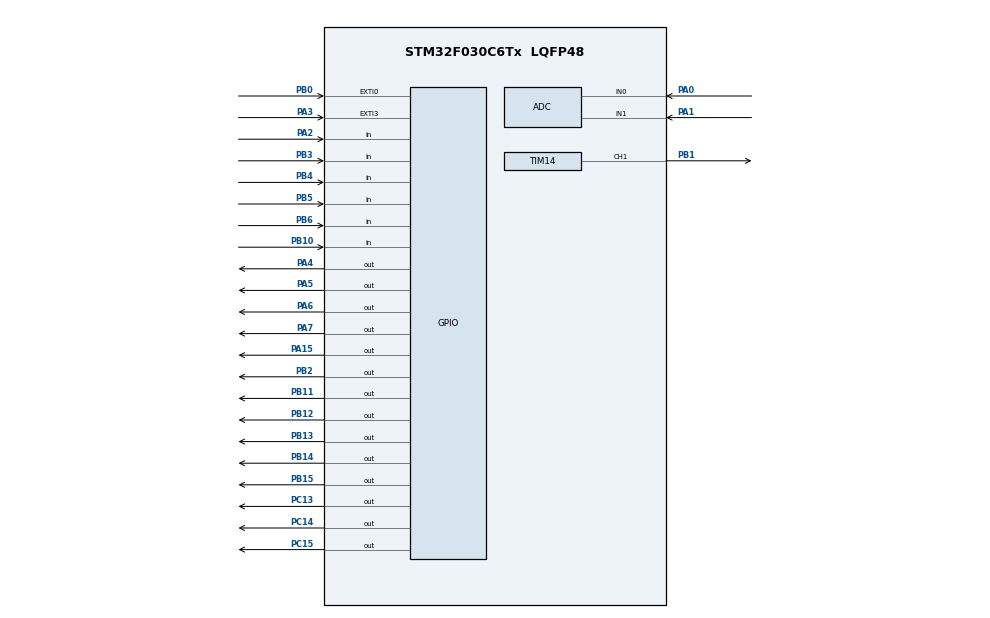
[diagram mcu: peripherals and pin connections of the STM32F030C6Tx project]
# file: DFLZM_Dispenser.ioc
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ADC.ContinuousConvMode=DISABLE
ADC.DMAContinuousRequests=DISABLE
ADC.DiscontinuousConvMode=ENABLE
ADC.ScanConvMode=ADC_SCAN_DIRECTION_FORWARD
Mcu.Family=STM32F0
Mcu.Name=STM32F030C6Tx
Mcu.Package=LQFP48
NVIC.EXTI0_1_IRQn=true\:0\:0\:false\:false\:true\:true\:true\:true
NVIC.EXTI2_3_IRQn=true\:0\:0\:false\:false\:true\:true\:true\:true
NVIC.TIM16_IRQn=true\:0\:0\:false\:false\:true\:true\:true\:true
NVIC.TIM17_IRQn=true\:0\:0\:false\:false\:true\:true\:true\:true
NVIC.TIM1_BRK_UP_TRG_COM_IRQn=true\:3\:0\:false\:false\:true\:false\:true\:true
NVIC.TimeBase=TIM1_BRK_UP_TRG_COM_IRQn
NVIC.TimeBaseIP=TIM1
PA0.Mode=IN0
PA0.Signal=ADC_IN0
PA1.Mode=IN1
PA1.Signal=ADC_IN1
PA13.Mode=Serial_Wire
PA13.Signal=SYS_SWDIO
PA14.Mode=Serial_Wire
PA14.Signal=SYS_SWCLK
PA15.Signal=GPIO_Output
PA2.GPIO_PuPd=GPIO_PULLDOWN
PA2.Signal=GPIO_Input
PA3.GPIO_PuPd=GPIO_PULLDOWN
PA3.Signal=GPXTI3
PA4.Signal=GPIO_Output
PA5.Signal=GPIO_Output
PA6.Signal=GPIO_Output
PA7.Signal=GPIO_Output
PB0.GPIO_ModeDefaultEXTI=GPIO_MODE_IT_RISING
PB0.Signal=GPXTI0
PB1.Signal=S_TIM14_CH1
PB10.GPIO_PuPd=GPIO_PULLUP
PB10.Signal=GPIO_Input
PB11.Signal=GPIO_Output
PB12.Signal=GPIO_Output
PB13.Signal=GPIO_Output
PB14.Signal=GPIO_Output
PB15.Signal=GPIO_Output
PB2.Signal=GPIO_Output
PB3.GPIO_PuPd=GPIO_PULLUP
PB3.Signal=GPIO_Input
PB4.GPIO_PuPd=GPIO_PULLUP
PB4.Signal=GPIO_Input
PB5.GPIO_PuPd=GPIO_PULLUP
PB5.Signal=GPIO_Input
PB6.GPIO_PuPd=GPIO_PULLUP
PB6.Signal=GPIO_Input
PC13.Signal=GPIO_Output
PC14-OSC32_IN.Signal=GPIO_Output
PC15-OSC32_OUT.Signal=GPIO_Output
ProjectManager.HeapSize=0x200
ProjectManager.StackSize=0x400
ProjectManager.TargetToolchain=MDK-ARM V5.27
SH.S_TIM14_CH1.0=TIM14_CH1,PWM Generation1 CH1
TIM14.AutoReloadPreload=TIM_AUTORELOAD_PRELOAD_ENABLE
TIM14.Channel=TIM_CHANNEL_1
TIM14.OCMode_PWM=TIM_OCMODE_PWM1
TIM14.OCPolarity_1=TIM_OCPOLARITY_LOW
TIM14.Period=100-1
TIM14.Prescaler=8-1
TIM16.AutoReloadPreload=TIM_AUTORELOAD_PRELOAD_ENABLE
TIM16.Period=1000
TIM16.Prescaler=7
TIM17.AutoReloadPreload=TIM_AUTORELOAD_PRELOAD_ENABLE
TIM17.Period=1016
TIM17.Prescaler=7
VP_SYS_VS_tim1.Mode=TIM1
VP_TIM14_VS_ClockSourceINT.Mode=Enable_Timer
VP_TIM16_VS_ClockSourceINT.Mode=Enable_Timer
VP_TIM17_VS_ClockSourceINT.Mode=Enable_Timer
board=custom

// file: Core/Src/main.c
/* USER CODE BEGIN Header */
/**
  ******************************************************************************
  * @file           : main.c
  * @brief          : Main program body
  ******************************************************************************
  * @attention
  *
  * Copyright (c) 2025 STMicroelectronics.
  * All rights reserved.
  *
  * This software is licensed under terms that can be found in the LICENSE file
  * in the root directory of this software component.
  * If no LICENSE file comes with this software, it is provided AS-IS.
  *
  ******************************************************************************
  */

//
//                 STM32F030C6T6  SOP48(C)
//                 ----------------
//  TEMP_1_AD--------|(PA0)    (PB0)|-----------PASSZERO
//  TEMP_2_AD--------|(PA1)    (PB1)|-----------PUMP
//  Micro_SW---------|(PA2)    (PB2)|-----------LED1
//  FLX_DETECT-------|(PA3)    (PB3)|-----------DISINFECT_KEY
//  HEATER-----------|(PA4)    (PB4)|-----------PREHEAT_KEY
//  TEMP_CHG_LED-----|(PA5)    (PB5)|-----------WATEROUT_KEY
//  Dr1--------------|(PA6)    (PB6)|-----------TEMP_CHG_KEY
//  Dr2--------------|(PA7)    (PB7)|-----------
//  -----------------|(PA8)    (PB8)|-----------
//  -----------------|(PA9)    (PB9)|------------
// 	-----------------|(PA10)   (PB10)|------------LOCK_KEY
//  -----------------|(PA11)   (PB11)|------------TW_Valve
//  -----------------|(PA12)   (PB12)|------------Dr3
//  -----------------|(PA13)   (PB13)|------------Dr4
//  -----------------|(PA14)   (PB14)|------------Dr5
//  BUZZER-----------|(PA15)   (PB15)|------------LOCK_LED
//  DISINFECT_LED------|(PC13)
//  PREHEAT_LED--------|(PC14)
//  WATEROUT_LED-------|(PC15)

///**************define output ports*********/
//#define LOCK_LED       GPIOB,GPIO_PIN_15
//#define TEMP_CHG_LED   GPIOA,GPIO_PIN_5
//#define WATEROUT_LED   GPIOC,GPIO_PIN_15
//#define PREHEAT_LED    GPIOC,GPIO_PIN_14
//#define DISINFECT_LED  GPIOC,GPIO_PIN_13

//#define LOCK_KEY       GPIOB,GPIO_PIN_10
//#define TEMP_CHG_KEY   GPIOB,GPIO_PIN_6
//#define WATEROUT_KEY   GPIOB,GPIO_PIN_5
//#define PREHEAT_KEY    GPIOB,GPIO_PIN_4
//#define DISINFECT_KEY  GPIOB,GPIO_PIN_3

//#define PUMP           GPIOB,GPIO_PIN_1
//#define BUZZER         GPIOA,GPIO_PIN_15
//#define HEATER         GPIOA,GPIO_PIN_4
//#define Micro_SW			 GPIOA,GPIO_PIN_2
//#define TW_Valve			 GPIOB,GPIO_PIN_11

//#define Dr1         	 GPIOA,GPIO_PIN_6
//#define Dr2         	 GPIOA,GPIO_PIN_7
//#define Dr3        		 GPIOB,GPIO_PIN_12
//#define Dr4       	   GPIOB,GPIO_PIN_13
//#define Dr5      		   GPIOB,GPIO_PIN_14
//#define LED1					 GPIOB,GPIO_PIN_2
/* USER CODE END Header */
#include "main.h"
#include "adc.h"
#include "tim.h"
#include "gpio.h"

/* USER CODE BEGIN Includes */
#include "sm.h"
#include "app.h"

/* USER CODE END Includes */

/* USER CODE BEGIN PV */
uint16_t	pid_timer_flag = FALSE;
/* USER CODE END PV */

void SystemClock_Config(void);

int main(void)
{

  /* MCU Configuration--------------------------------------------------------*/

  /* Reset of all peripherals, Initializes the Flash interface and the Systick. */
  HAL_Init();

  /* Configure the system clock */
  SystemClock_Config();

  /* Initialize all configured peripherals */
  MX_GPIO_Init();
  MX_ADC_Init();
  MX_TIM16_Init();
  MX_TIM17_Init();
  MX_TIM14_Init();
  /* USER CODE BEGIN 2 */
	HAL_TIM_Base_Start(&htim14); // 启动定时器
	HAL_TIM_PWM_Start(&htim14, TIM_CHANNEL_1); // 启动PWM输出
	HAL_TIM_Base_Start_IT(&htim16);
//	HAL_TIM_Base_Start_IT(&htim17);
	HAL_ADCEx_Calibration_Start(&hadc);
	System_Init();

//	save_flash_data();
//	read_flash_data();
  /* USER CODE END 2 */

  /* Infinite loop */
  while (1)
  {

    /* USER CODE BEGIN 3 */
		display();
//		loop_fun();
		Keys_handler();
		led_blink();
		Alarm_Process();
		ADC_Get_Value();
		safety_check();
		Adjust_PWM_DutyCycle(&htim14, TIM_CHANNEL_1,mDispenser.pump_speed);
		if(pid_timer_flag == TURE){	//500ms PID计算水泵和加热管功率
			pid_timer_flag = FALSE;
			calculate_pid();
		}
  }
  /* USER CODE END 3 */
}

void SystemClock_Config(void)
{
  RCC_OscInitTypeDef RCC_OscInitStruct = {0};
  RCC_ClkInitTypeDef RCC_ClkInitStruct = {0};

  /** Initializes the RCC Oscillators according to the specified parameters
  * in the RCC_OscInitTypeDef structure.
  */
  RCC_OscInitStruct.OscillatorType = RCC_OSCILLATORTYPE_HSI|RCC_OSCILLATORTYPE_HSI14;
  RCC_OscInitStruct.HSIState = RCC_HSI_ON;
  RCC_OscInitStruct.HSI14State = RCC_HSI14_ON;
  RCC_OscInitStruct.HSICalibrationValue = RCC_HSICALIBRATION_DEFAULT;
  RCC_OscInitStruct.HSI14CalibrationValue = 16;
  RCC_OscInitStruct.PLL.PLLState = RCC_PLL_NONE;
  if (HAL_RCC_OscConfig(&RCC_OscInitStruct) != HAL_OK)
  {
    Error_Handler();
  }

  /** Initializes the CPU, AHB and APB buses clocks
  */
  RCC_ClkInitStruct.ClockType = RCC_CLOCKTYPE_HCLK|RCC_CLOCKTYPE_SYSCLK
                              |RCC_CLOCKTYPE_PCLK1;
  RCC_ClkInitStruct.SYSCLKSource = RCC_SYSCLKSOURCE_HSI;
  RCC_ClkInitStruct.AHBCLKDivider = RCC_SYSCLK_DIV1;
  RCC_ClkInitStruct.APB1CLKDivider = RCC_HCLK_DIV1;

  if (HAL_RCC_ClockConfig(&RCC_ClkInitStruct, FLASH_LATENCY_0) != HAL_OK)
  {
    Error_Handler();
  }
}

/* USER CODE BEGIN 4 */
void HAL_GPIO_EXTI_Callback(uint16_t GPIO_Pin)
{
  /* Prevent unused argument(s) compilation warning */
  UNUSED(GPIO_Pin);
	if(GPIO_Pin == GPIO_PIN_0)		//Zero_detect_pin
	{
//		mDispenser.heating_enabled = FALSE;
		if(mDispenser.heating_enabled == TURE){
			++PassZero_Detect.pulse_cnt;
			heating_cnt = (heating_cnt + 1) % 10;		//pump power control pwm frequence 1000/5 HZ

			if(heating_cnt < (mDispenser.heating_pwr/10)){
				HEATER_ON;
				IntZero_timer_ms.start_flag = TIMERSTART ;	//	start conduction angle timer
			}
		}

	}

	if(GPIO_Pin == GPIO_PIN_3)		//flow_detect_pin count pulse
	{
		++iFlow.pulse_cnt;
	}
  /* NOTE: This function should not be modified, when the callback is needed,
            the HAL_GPIO_EXTI_Callback could be implemented in the user file
   */
}
/* USER CODE END 4 */

void HAL_TIM_PeriodElapsedCallback(TIM_HandleTypeDef *htim)
{
  if (htim->Instance == TIM1) {
    HAL_IncTick();
  }
  /* USER CODE BEGIN Callback 1 */
	  if (htim->Instance == TIM16) {
				if(time_cnt_1s < 1000)  //1s timer for alarm
        {
					time_cnt_1s++;
				}else{
					AlarmTimeBase_1s = 1;
					time_cnt_1s = 0;
					if(DryBurn_Timer_s.start_flag == TIMERSTART){
						if(DryBurn_Timer_s.cnt < DryBurn_Timer_s.time_setting){
							DryBurn_Timer_s.cnt++;
						}else{
								DryBurn_Timer_s.timersup = TURE;
								DryBurn_Timer_s.cnt =0;
								DryBurn_Timer_s.start_flag = TIMERSTOP;
						}
					}
				}

        if(time_cnt_10ms < 10) //scan key state in every 10ms
        {
          time_cnt_10ms++;
        }else
				{
					time_cnt_10ms = 0;
					Keys_Scan();
//					HAL_GPIO_TogglePin(TW_Valve);
        }

        if(time_cnt_500ms < LED_BLINK_FREQ_MS){  //500ms for led blink
            time_cnt_500ms++;
        }else{
            LedTimeBase_500ms = 1;
            time_cnt_500ms = 0;
						iFlow.HZ = 2*iFlow.pulse_cnt;//???????
            iFlow.pulse_cnt =0;  //????????????
						PassZero_Detect.HZ = PassZero_Detect.pulse_cnt;
						PassZero_Detect.pulse_cnt = 0;
						pid_timer_flag = TURE;
        }

				if(IntZero_timer_ms.start_flag == TIMERSTART){	//	conduction angle count
					if(IntZero_timer_ms.cnt < IntZero_timer_ms.time_setting){
						IntZero_timer_ms.cnt++;
					}else{
						HEATER_OFF;
						IntZero_timer_ms.cnt =0;
						IntZero_timer_ms.start_flag = TIMERSTOP;
					}
				}
		}

		if(htim->Instance == TIM17) {
//			if(mDispenser.pump_speed >0 && mDispenser.pump_speed < PUMP_SPEED_MIN){
//				mDispenser.pump_speed =	PUMP_SPEED_MIN; //limit the min pump speed 50%
//				}
//			pump_cnt = (pump_cnt + 1) % 10;		//pump power control pwm frequence 1k HZ
//			if(pump_cnt < mDispenser.pump_speed/10)
//			{
//				PUMP_ON; //GPIO_PIN_RESET: pump ON  GPIO_PIN_SET:pump OFF
//			}else{
//				PUMP_OFF;  // GPIO_PIN_RESET: pump ON  GPIO_PIN_SET:pump OFF
//			}
			//392HZ
			HAL_GPIO_TogglePin(BUZZER);
			if(Buzzer_alarm_s.start_flag != TIMERSTART)
			{
				Buzzer_alarm_s.start_flag = TIMERSTART;

			}else{
				if(Buzzer_alarm_s.cnt < Buzzer_alarm_s.time_setting){
							Buzzer_alarm_s.cnt++;
						}else{
								Buzzer_alarm_s.cnt =0;
								Buzzer_alarm_s.start_flag = TIMERSTOP;
								HAL_TIM_Base_Stop_IT(&htim17);
						}
			}

		}

  /* USER CODE END Callback 1 */
}

void Error_Handler(void)
{
  __disable_irq();
  while (1)
  {
  }
}
